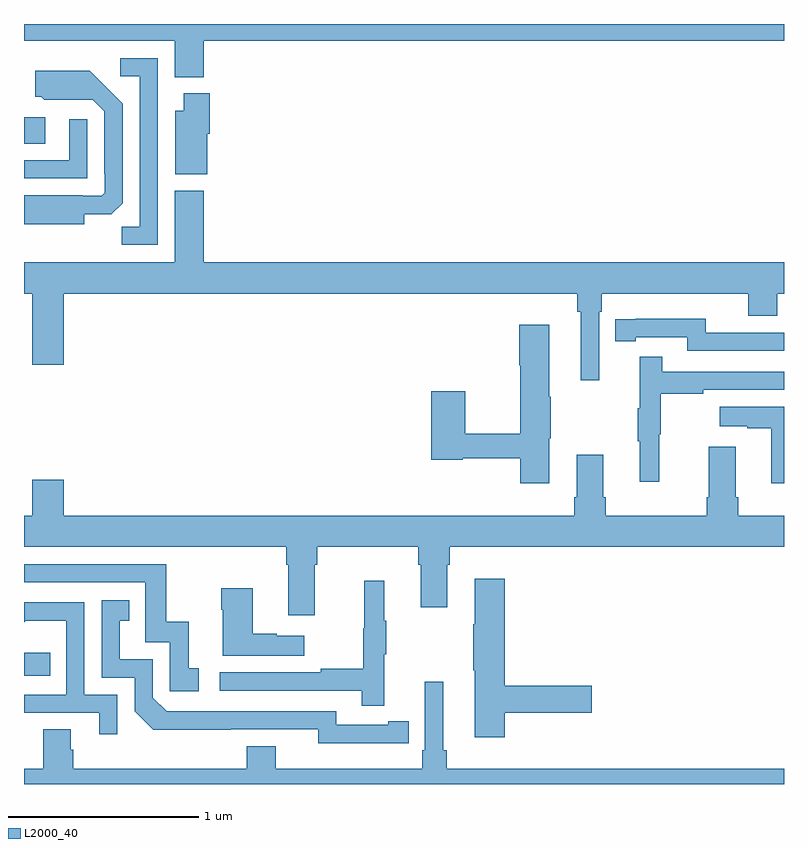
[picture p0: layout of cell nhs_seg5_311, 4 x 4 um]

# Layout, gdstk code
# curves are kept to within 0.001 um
import gdstk
lib = gdstk.Library(unit=1e-6, precision=1e-09)
def R(c, l, rs):  # rectangles x0, y0, x1, y1
    for r in rs: c.add(gdstk.rectangle(r[:2], r[2:], *l))
def P(c, l, *ps):  # polygons
    for p in ps: c.add(gdstk.Polygon(p, *l))
L2000_40 = (2000, 40)

nhs_seg5_311 = lib.new_cell('nhs_seg5_311')
R(nhs_seg5_311, L2000_40, [(129,901.368,129.137,901.491), (129,904.168,129.112,904.308)])
P(nhs_seg5_311, L2000_40, [(129.947,904.712),(133,904.712),(133,904.799),(129,904.799),(129,904.712),(129.794,904.712),(129.794,904.52),(129.947,904.52)],
  [(129.705,904.62),(129.507,904.62),(129.507,904.524),(129.609,904.524),(129.609,903.731),(129.514,903.731),(129.514,903.636),(129.705,903.636)],
  [(129.316,903.797),(129.46,903.797),(129.519,903.856),(129.519,904.378),(129.347,904.552),(129.059,904.552),(129.059,904.416),(129.09,904.416),(129.106,904.4),(129.363,904.401),(129.423,904.341),(129.423,904.012),(129.426,904.012),(129.426,903.912),(129.408,903.894),(129.308,903.894),(129.308,903.898),(129,903.898),(129,903.746),(129.316,903.746)],
  [(129.964,904.221),(129.977,904.221),(129.977,904.435),(129.842,904.435),(129.842,904.342),(129.797,904.342),(129.797,904.007),(129.964,904.007)],
  [(129.333,904.297),(129.237,904.297),(129.237,904.083),(129,904.083),(129,903.987),(129.333,903.987)],
  [(132.027,903.284),(132.041,903.284),(132.041,903.38),(132.812,903.38),(132.812,903.263),(132.965,903.263),(132.965,903.38),(133,903.38),(133,903.544),(129.947,903.544),(129.947,903.922),(129.794,903.922),(129.794,903.544),(129,903.544),(129,903.38),(129.044,903.38),(129.044,903.006),(129.208,903.006),(129.208,903.38),(131.911,903.38),(131.911,903.284),(131.93,903.284),(131.93,902.925),(132.027,902.925)],
  [(133,903.174),(132.588,903.174),(132.588,903.247),(132.22,903.247),(132.22,903.246),(132.112,903.246),(132.112,903.13),(132.22,903.13),(132.22,903.15),(132.492,903.15),(132.492,903.078),(133,903.078)],
  [(131.764,902.619),(131.772,902.619),(131.772,902.837),(131.764,902.837),(131.764,903.217),(131.606,903.217),(131.606,903.004),(131.611,903.004),(131.611,902.642),(131.322,902.642),(131.322,902.866),(131.144,902.866),(131.144,902.506),(131.31,902.506),(131.31,902.514),(131.611,902.514),(131.611,902.382),(131.764,902.382)],
  [(132.344,902.64),(132.352,902.64),(132.352,902.854),(132.575,902.854),(132.575,902.874),(133,902.874),(133,902.97),(132.359,902.97),(132.359,903.049),(132.242,903.049),(132.242,902.777),(132.231,902.777),(132.231,902.603),(132.242,902.603),(132.242,902.391),(132.344,902.391)],
  [(133,902.785),(132.663,902.785),(132.663,902.681),(132.806,902.681),(132.806,902.671),(132.932,902.671),(132.932,902.382),(133,902.382)],
  [(130.531,901.952),(130.544,901.952),(130.544,902.048),(131.075,902.048),(131.075,901.952),(131.087,901.952),(131.087,901.728),(131.227,901.728),(131.227,901.952),(131.24,901.952),(131.24,902.048),(133,902.048),(133,902.212),(132.758,902.212),(132.758,902.308),(132.745,902.308),(132.745,902.575),(132.605,902.575),(132.605,902.308),(132.593,902.308),(132.593,902.212),(132.062,902.212),(132.062,902.308),(132.049,902.308),(132.049,902.533),(131.909,902.533),(131.909,902.308),(131.897,902.308),(131.897,902.212),(129.208,902.212),(129.208,902.401),(129.044,902.401),(129.044,902.212),(129,902.212),(129,902.048),(130.379,902.048),(130.379,901.952),(130.391,901.952),(130.391,901.686),(130.531,901.686)],
  [(129.919,901.407),(129.866,901.407),(129.866,901.654),(129.748,901.654),(129.748,901.956),(129,901.956),(129,901.86),(129.639,901.86),(129.639,901.545),(129.768,901.545),(129.768,901.287),(129.919,901.287)],
  [(131.531,901.174),(131.989,901.174),(131.989,901.316),(131.531,901.316),(131.531,901.879),(131.372,901.879),(131.372,901.64),(131.365,901.64),(131.365,901.399),(131.372,901.399),(131.372,901.044),(131.531,901.044)],
  [(130.895,901.483),(130.906,901.483),(130.906,901.657),(130.895,901.657),(130.895,901.87),(130.792,901.87),(130.792,901.62),(130.785,901.62),(130.785,901.406),(130.561,901.406),(130.561,901.386),(130.029,901.386),(130.029,901.29),(130.777,901.29),(130.777,901.212),(130.895,901.212)],
  [(130.474,901.579),(130.331,901.579),(130.331,901.589),(130.204,901.589),(130.204,901.828),(130.039,901.828),(130.039,901.715),(130.046,901.715),(130.046,901.475),(130.474,901.475)],
  [(130.916,901.014),(131.024,901.014),(131.024,901.13),(130.916,901.13),(130.916,901.11),(130.644,901.11),(130.644,901.182),(129.75,901.182),(129.678,901.254),(129.678,901.455),(129.505,901.455),(129.505,901.659),(129.554,901.659),(129.554,901.765),(129.408,901.765),(129.408,901.359),(129.582,901.359),(129.582,901.182),(129.68,901.085),(130.548,901.086),(130.548,901.013)],
  [(129.492,901.269),(129.318,901.269),(129.318,901.755),(129,901.755),(129,901.65),(129.008,901.658),(129.222,901.658),(129.222,901.269),(129,901.269),(129,901.173),(129.395,901.173),(129.395,901.062),(129.492,901.062)],
  [(133,900.88),(131.225,900.88),(131.225,900.976),(131.206,900.976),(131.206,901.336),(131.109,901.336),(131.109,900.976),(131.096,900.976),(131.096,900.88),(130.324,900.88),(130.324,900.997),(130.172,900.997),(130.172,900.88),(129.26,900.88),(129.26,900.978),(129.247,900.978),(129.247,901.088),(129.1,901.088),(129.1,900.88),(129,900.88),(129,900.799),(133,900.799)])

lib.write_gds('nhs_seg5_311.gds')
